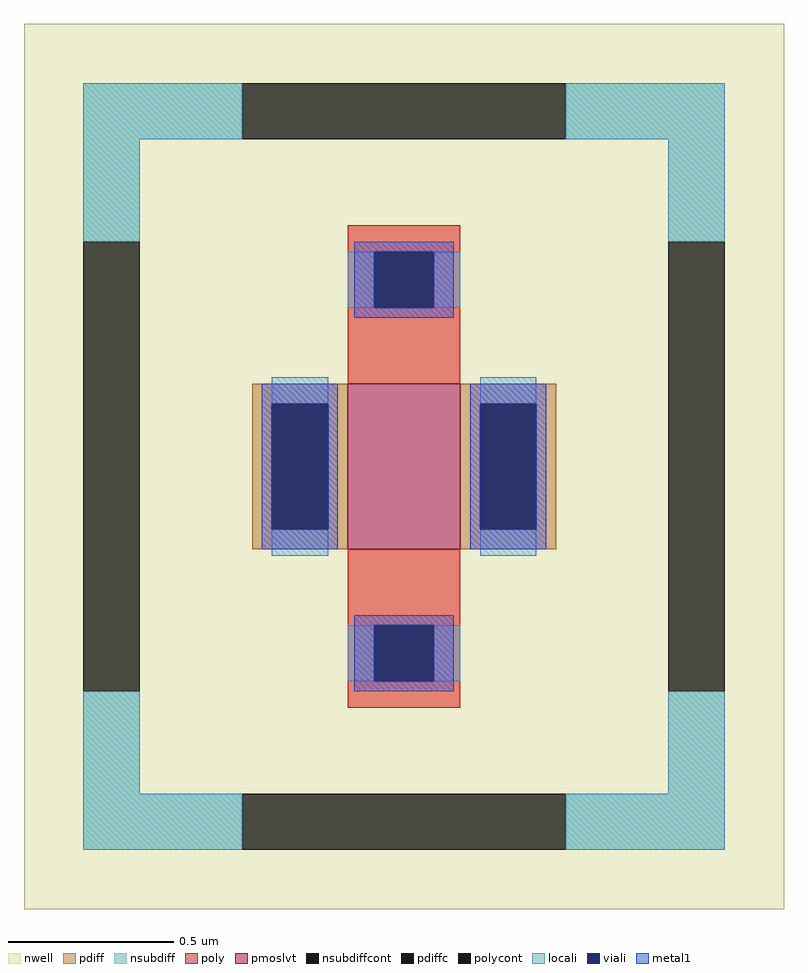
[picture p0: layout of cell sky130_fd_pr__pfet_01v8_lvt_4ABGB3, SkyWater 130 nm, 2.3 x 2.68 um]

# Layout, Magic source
magic
tech sky130A
magscale 1 2
<< nwell >>
rect -230 -268 230 268
<< pmoslvt >>
rect -34 -50 34 50
<< pdiff >>
rect -92 38 -34 50
rect -92 -38 -80 38
rect -46 -38 -34 38
rect -92 -50 -34 -38
rect 34 38 92 50
rect 34 -38 46 38
rect 80 -38 92 38
rect 34 -50 92 -38
<< pdiffc >>
rect -80 -38 -46 38
rect 46 -38 80 38
<< nsubdiff >>
rect -194 198 -98 232
rect 98 198 194 232
rect -194 136 -160 198
rect 160 136 194 198
rect -194 -198 -160 -136
rect 160 -198 194 -136
rect -194 -232 -98 -198
rect 98 -232 194 -198
<< nsubdiffcont >>
rect -98 198 98 232
rect -194 -136 -160 136
rect 160 -136 194 136
rect -98 -232 98 -198
<< poly >>
rect -34 130 34 146
rect -34 96 -18 130
rect 18 96 34 130
rect -34 50 34 96
rect -34 -96 34 -50
rect -34 -130 -18 -96
rect 18 -130 34 -96
rect -34 -146 34 -130
<< polycont >>
rect -18 96 18 130
rect -18 -130 18 -96
<< locali >>
rect -194 198 -98 232
rect 98 198 194 232
rect -194 136 -160 198
rect 160 136 194 198
rect -34 96 -18 130
rect 18 96 34 130
rect -80 38 -46 54
rect -80 -54 -46 -38
rect 46 38 80 54
rect 46 -54 80 -38
rect -34 -130 -18 -96
rect 18 -130 34 -96
rect -194 -198 -160 -136
rect 160 -198 194 -136
rect -194 -232 -98 -198
rect 98 -232 194 -198
<< viali >>
rect -18 96 18 130
rect -80 -38 -46 38
rect 46 -38 80 38
rect -18 -130 18 -96
<< metal1 >>
rect -30 130 30 136
rect -30 96 -18 130
rect 18 96 30 130
rect -30 90 30 96
rect -86 38 -40 50
rect -86 -38 -80 38
rect -46 -38 -40 38
rect -86 -50 -40 -38
rect 40 38 86 50
rect 40 -38 46 38
rect 80 -38 86 38
rect 40 -50 86 -38
rect -30 -96 30 -90
rect -30 -130 -18 -96
rect 18 -130 30 -96
rect -30 -136 30 -130
<< properties >>
string FIXED_BBOX -178 -216 178 216
string gencell sky130_fd_pr__pfet_01v8_lvt
string library sky130
string parameters w 0.5 l 0.35 m 1 nf 1 diffcov 100 polycov 100 guard 1 glc 1 grc 1 gtc 1 gbc 1 tbcov 100 rlcov 100 topc 1 botc 1 poverlap 0 doverlap 1 lmin 0.35 wmin 0.42 compatible {sky130_fd_pr__pfet_01v8  sky130_fd_pr__pfet_01v8_lvt sky130_fd_pr__pfet_01v8_hvt  sky130_fd_pr__pfet_g5v0d10v5} full_metal 1 viasrc 100 viadrn 100 viagate 100 viagb 0 viagr 0 viagl 0 viagt 0
<< end >>
